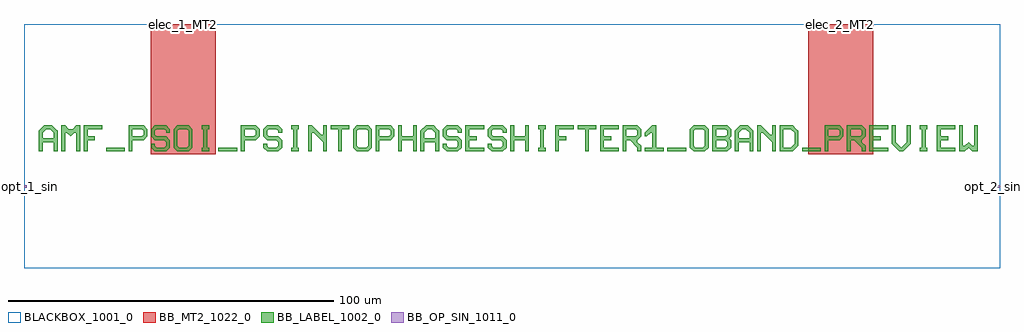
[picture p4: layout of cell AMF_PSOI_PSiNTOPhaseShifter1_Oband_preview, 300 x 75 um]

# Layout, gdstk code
import gdstk
lib = gdstk.Library(unit=1e-6, precision=1e-09)
def R(c, l, rs):  # rectangles x0, y0, x1, y1
    for r in rs: c.add(gdstk.rectangle(r[:2], r[2:], *l))
def P(c, l, *ps):  # polygons
    for p in ps: c.add(gdstk.Polygon(p, *l))
BLACKBOX_1001_0 = (1001, 0)
BB_LABEL_1002_0 = (1002, 0)
BB_OP_SIN_1011_0 = (1011, 0)
BB_MT2_1022_0 = (1022, 0)

amf_psoi_psintophaseshif = lib.new_cell('AMF_PSOI_PSiNTOPhaseShifter1_Oband_preview')
R(amf_psoi_psintophaseshif, BLACKBOX_1001_0, [(0,-25,300,50)])
R(amf_psoi_psintophaseshif, BB_LABEL_1002_0, [(25.271,10.825,31.021,11.975), (59.771,10.825,65.521,11.975), (197.771,10.825,203.521,11.975), (239.171,10.825,244.921,11.975)])
P(amf_psoi_psintophaseshif, BB_LABEL_1002_0, [(4.571,10.825),(4.571,17.15),(6.296,18.875),(8.596,18.875),(9.746,17.725),(6.871,17.725),(5.721,16.575),(5.721,14.85),(9.171,14.85),(9.171,16.575),(8.021,17.725),(9.746,17.725),(10.321,17.15),(10.321,10.825),(9.171,10.825),(9.171,13.7),(5.721,13.7),(5.721,10.825)],
  [(11.471,10.825),(11.471,18.875),(12.621,18.875),(13.771,17.725),(14.921,17.725),(16.071,18.875),(17.221,18.875),(17.221,10.825),(16.071,10.825),(16.071,16.575),(15.496,16.575),(14.346,15.425),(13.196,16.575),(12.621,16.575),(12.621,10.825)],
  [(18.371,10.825),(18.371,18.875),(24.121,18.875),(24.121,17.725),(19.521,17.725),(19.521,15.425),(21.821,15.425),(21.821,14.275),(19.521,14.275),(19.521,10.825)],
  [(32.171,10.825),(32.171,18.875),(36.771,18.875),(37.921,17.725),(37.921,15.425),(36.771,14.275),(33.321,14.275),(33.321,15.425),(36.196,15.425),(36.771,16),(36.771,17.15),(36.196,17.725),(33.321,17.725),(33.321,10.825)],
  [(40.221,10.825),(39.071,11.975),(39.071,13.125),(40.221,13.125),(40.221,12.55),(40.796,11.975),(43.096,11.975),(43.671,12.55),(43.671,13.7),(43.096,14.275),(40.221,14.275),(39.071,15.425),(39.071,17.725),(40.221,18.875),(43.671,18.875),(44.821,17.725),(44.821,16.575),(43.671,16.575),(43.671,17.15),(43.096,17.725),(40.796,17.725),(40.221,17.15),(40.221,16),(40.796,15.425),(43.671,15.425),(44.821,14.275),(44.821,11.975),(43.671,10.825)],
  [(47.121,10.825),(45.971,11.975),(45.971,17.725),(47.121,18.875),(50.571,18.875),(51.721,17.725),(51.721,14.85),(50.571,14.85),(50.571,17.15),(49.996,17.725),(47.696,17.725),(47.121,17.15),(47.121,12.55),(47.696,11.975),(49.996,11.975),(50.571,12.55),(50.571,14.85),(51.721,14.85),(51.721,11.975),(50.571,10.825)],
  [(54.596,10.825),(54.596,11.975),(55.171,11.975),(55.171,17.725),(54.596,17.725),(54.596,18.875),(56.896,18.875),(56.896,17.725),(56.321,17.725),(56.321,11.975),(56.896,11.975),(56.896,10.825)],
  [(66.671,10.825),(66.671,18.875),(71.271,18.875),(72.421,17.725),(72.421,15.425),(71.271,14.275),(67.821,14.275),(67.821,15.425),(70.696,15.425),(71.271,16),(71.271,17.15),(70.696,17.725),(67.821,17.725),(67.821,10.825)],
  [(74.721,10.825),(73.571,11.975),(73.571,13.125),(74.721,13.125),(74.721,12.55),(75.296,11.975),(77.596,11.975),(78.171,12.55),(78.171,13.7),(77.596,14.275),(74.721,14.275),(73.571,15.425),(73.571,17.725),(74.721,18.875),(78.171,18.875),(79.321,17.725),(79.321,16.575),(78.171,16.575),(78.171,17.15),(77.596,17.725),(75.296,17.725),(74.721,17.15),(74.721,16),(75.296,15.425),(78.171,15.425),(79.321,14.275),(79.321,11.975),(78.171,10.825)],
  [(82.196,10.825),(82.196,11.975),(82.771,11.975),(82.771,17.725),(82.196,17.725),(82.196,18.875),(84.496,18.875),(84.496,17.725),(83.921,17.725),(83.921,11.975),(84.496,11.975),(84.496,10.825)],
  [(87.371,10.825),(87.371,18.875),(88.521,18.875),(91.396,16),(91.971,16),(91.971,18.875),(93.121,18.875),(93.121,10.825),(91.971,10.825),(91.971,13.7),(89.096,16.575),(88.521,16.575),(88.521,10.825)],
  [(96.571,10.825),(96.571,17.725),(94.271,17.725),(94.271,18.875),(100.021,18.875),(100.021,17.725),(97.721,17.725),(97.721,10.825)],
  [(102.321,10.825),(101.171,11.975),(101.171,17.725),(102.321,18.875),(105.771,18.875),(106.921,17.725),(106.921,14.85),(105.771,14.85),(105.771,17.15),(105.196,17.725),(102.896,17.725),(102.321,17.15),(102.321,12.55),(102.896,11.975),(105.196,11.975),(105.771,12.55),(105.771,14.85),(106.921,14.85),(106.921,11.975),(105.771,10.825)],
  [(108.071,10.825),(108.071,18.875),(112.671,18.875),(113.821,17.725),(113.821,15.425),(112.671,14.275),(109.221,14.275),(109.221,15.425),(112.096,15.425),(112.671,16),(112.671,17.15),(112.096,17.725),(109.221,17.725),(109.221,10.825)],
  [(114.971,10.825),(114.971,18.875),(116.121,18.875),(116.121,15.425),(119.571,15.425),(119.571,18.875),(120.721,18.875),(120.721,10.825),(119.571,10.825),(119.571,14.275),(116.121,14.275),(116.121,10.825)],
  [(121.871,10.825),(121.871,17.15),(123.596,18.875),(125.896,18.875),(127.046,17.725),(124.171,17.725),(123.021,16.575),(123.021,14.85),(126.471,14.85),(126.471,16.575),(125.321,17.725),(127.046,17.725),(127.621,17.15),(127.621,10.825),(126.471,10.825),(126.471,13.7),(123.021,13.7),(123.021,10.825)],
  [(129.921,10.825),(128.771,11.975),(128.771,13.125),(129.921,13.125),(129.921,12.55),(130.496,11.975),(132.796,11.975),(133.371,12.55),(133.371,13.7),(132.796,14.275),(129.921,14.275),(128.771,15.425),(128.771,17.725),(129.921,18.875),(133.371,18.875),(134.521,17.725),(134.521,16.575),(133.371,16.575),(133.371,17.15),(132.796,17.725),(130.496,17.725),(129.921,17.15),(129.921,16),(130.496,15.425),(133.371,15.425),(134.521,14.275),(134.521,11.975),(133.371,10.825)],
  [(135.671,10.825),(135.671,18.875),(141.421,18.875),(141.421,17.725),(136.821,17.725),(136.821,15.425),(139.121,15.425),(139.121,14.275),(136.821,14.275),(136.821,11.975),(141.421,11.975),(141.421,10.825)],
  [(143.721,10.825),(142.571,11.975),(142.571,13.125),(143.721,13.125),(143.721,12.55),(144.296,11.975),(146.596,11.975),(147.171,12.55),(147.171,13.7),(146.596,14.275),(143.721,14.275),(142.571,15.425),(142.571,17.725),(143.721,18.875),(147.171,18.875),(148.321,17.725),(148.321,16.575),(147.171,16.575),(147.171,17.15),(146.596,17.725),(144.296,17.725),(143.721,17.15),(143.721,16),(144.296,15.425),(147.171,15.425),(148.321,14.275),(148.321,11.975),(147.171,10.825)],
  [(149.471,10.825),(149.471,18.875),(150.621,18.875),(150.621,15.425),(154.071,15.425),(154.071,18.875),(155.221,18.875),(155.221,10.825),(154.071,10.825),(154.071,14.275),(150.621,14.275),(150.621,10.825)],
  [(158.096,10.825),(158.096,11.975),(158.671,11.975),(158.671,17.725),(158.096,17.725),(158.096,18.875),(160.396,18.875),(160.396,17.725),(159.821,17.725),(159.821,11.975),(160.396,11.975),(160.396,10.825)],
  [(163.271,10.825),(163.271,18.875),(169.021,18.875),(169.021,17.725),(164.421,17.725),(164.421,15.425),(166.721,15.425),(166.721,14.275),(164.421,14.275),(164.421,10.825)],
  [(172.471,10.825),(172.471,17.725),(170.171,17.725),(170.171,18.875),(175.921,18.875),(175.921,17.725),(173.621,17.725),(173.621,10.825)],
  [(177.071,10.825),(177.071,18.875),(182.821,18.875),(182.821,17.725),(178.221,17.725),(178.221,15.425),(180.521,15.425),(180.521,14.275),(178.221,14.275),(178.221,11.975),(182.821,11.975),(182.821,10.825)],
  [(183.971,10.825),(183.971,18.875),(188.571,18.875),(189.721,17.725),(185.121,17.725),(185.121,15.425),(187.996,15.425),(188.571,16),(188.571,17.15),(187.996,17.725),(189.721,17.725),(189.721,15.425),(188.571,14.275),(188.571,13.7),(189.721,12.55),(189.721,10.825),(188.571,10.825),(188.571,11.975),(186.271,14.275),(185.121,14.275),(185.121,10.825)],
  [(190.871,10.825),(190.871,11.975),(193.171,11.975),(193.171,16.575),(192.596,16.575),(191.446,15.425),(190.871,15.425),(190.871,16.575),(193.171,18.875),(194.321,18.875),(194.321,11.975),(196.621,11.975),(196.621,10.825)],
  [(205.821,10.825),(204.671,11.975),(204.671,17.725),(205.821,18.875),(209.271,18.875),(210.421,17.725),(210.421,14.85),(209.271,14.85),(209.271,17.15),(208.696,17.725),(206.396,17.725),(205.821,17.15),(205.821,12.55),(206.396,11.975),(208.696,11.975),(209.271,12.55),(209.271,14.85),(210.421,14.85),(210.421,11.975),(209.271,10.825)],
  [(211.571,10.825),(211.571,18.875),(216.171,18.875),(217.321,17.725),(212.721,17.725),(212.721,15.425),(215.596,15.425),(216.171,16),(216.171,17.15),(215.596,17.725),(217.321,17.725),(217.321,15.425),(216.746,14.85),(217.321,14.275),(212.721,14.275),(212.721,11.975),(215.596,11.975),(216.171,12.55),(216.171,13.7),(215.596,14.275),(217.321,14.275),(217.321,11.975),(216.171,10.825)],
  [(218.471,10.825),(218.471,17.15),(220.196,18.875),(222.496,18.875),(223.646,17.725),(220.771,17.725),(219.621,16.575),(219.621,14.85),(223.071,14.85),(223.071,16.575),(221.921,17.725),(223.646,17.725),(224.221,17.15),(224.221,10.825),(223.071,10.825),(223.071,13.7),(219.621,13.7),(219.621,10.825)],
  [(225.371,10.825),(225.371,18.875),(226.521,18.875),(229.396,16),(229.971,16),(229.971,18.875),(231.121,18.875),(231.121,10.825),(229.971,10.825),(229.971,13.7),(227.096,16.575),(226.521,16.575),(226.521,10.825)],
  [(232.271,10.825),(232.271,18.875),(236.296,18.875),(237.446,17.725),(233.421,17.725),(233.421,11.975),(235.721,11.975),(236.871,13.125),(236.871,16.575),(235.721,17.725),(237.446,17.725),(238.021,17.15),(238.021,12.55),(236.296,10.825)],
  [(246.071,10.825),(246.071,18.875),(250.671,18.875),(251.821,17.725),(251.821,15.425),(250.671,14.275),(247.221,14.275),(247.221,15.425),(250.096,15.425),(250.671,16),(250.671,17.15),(250.096,17.725),(247.221,17.725),(247.221,10.825)],
  [(252.971,10.825),(252.971,18.875),(257.571,18.875),(258.721,17.725),(254.121,17.725),(254.121,15.425),(256.996,15.425),(257.571,16),(257.571,17.15),(256.996,17.725),(258.721,17.725),(258.721,15.425),(257.571,14.275),(257.571,13.7),(258.721,12.55),(258.721,10.825),(257.571,10.825),(257.571,11.975),(255.271,14.275),(254.121,14.275),(254.121,10.825)],
  [(259.871,10.825),(259.871,18.875),(265.621,18.875),(265.621,17.725),(261.021,17.725),(261.021,15.425),(263.321,15.425),(263.321,14.275),(261.021,14.275),(261.021,11.975),(265.621,11.975),(265.621,10.825)],
  [(269.071,10.825),(266.771,13.125),(266.771,18.875),(267.921,18.875),(267.921,13.7),(269.646,11.975),(271.371,13.7),(271.371,18.875),(272.521,18.875),(272.521,13.125),(270.221,10.825)],
  [(275.396,10.825),(275.396,11.975),(275.971,11.975),(275.971,17.725),(275.396,17.725),(275.396,18.875),(277.696,18.875),(277.696,17.725),(277.121,17.725),(277.121,11.975),(277.696,11.975),(277.696,10.825)],
  [(280.571,10.825),(280.571,18.875),(286.321,18.875),(286.321,17.725),(281.721,17.725),(281.721,15.425),(284.021,15.425),(284.021,14.275),(281.721,14.275),(281.721,11.975),(286.321,11.975),(286.321,10.825)],
  [(287.471,10.825),(287.471,18.875),(288.621,18.875),(288.621,12.55),(289.196,12.55),(290.346,13.7),(291.496,12.55),(292.071,12.55),(292.071,18.875),(293.221,18.875),(293.221,10.825),(291.496,10.825),(290.346,11.975),(289.196,10.825)])
R(amf_psoi_psintophaseshif, BB_OP_SIN_1011_0, [(0,-0.4,0.8,0.4), (299.2,-0.4,300,0.4)])
R(amf_psoi_psintophaseshif, BB_MT2_1022_0, [(39,10,59,50), (241,10,261,50)])
amf_psoi_psintophaseshif.add(gdstk.Label('elec_1_MT2', (49,50), layer=1022, texttype=0))
amf_psoi_psintophaseshif.add(gdstk.Label('elec_2_MT2', (251,50), layer=1022, texttype=0))
amf_psoi_psintophaseshif.add(gdstk.Label('opt_2_sin', (300,0), layer=1011, texttype=0))
amf_psoi_psintophaseshif.add(gdstk.Label('opt_1_sin', (0,0), layer=1011, texttype=0))

lib.write_gds('AMF_PSOI_PSiNTOPhaseShifter1_Oband_preview.gds')
